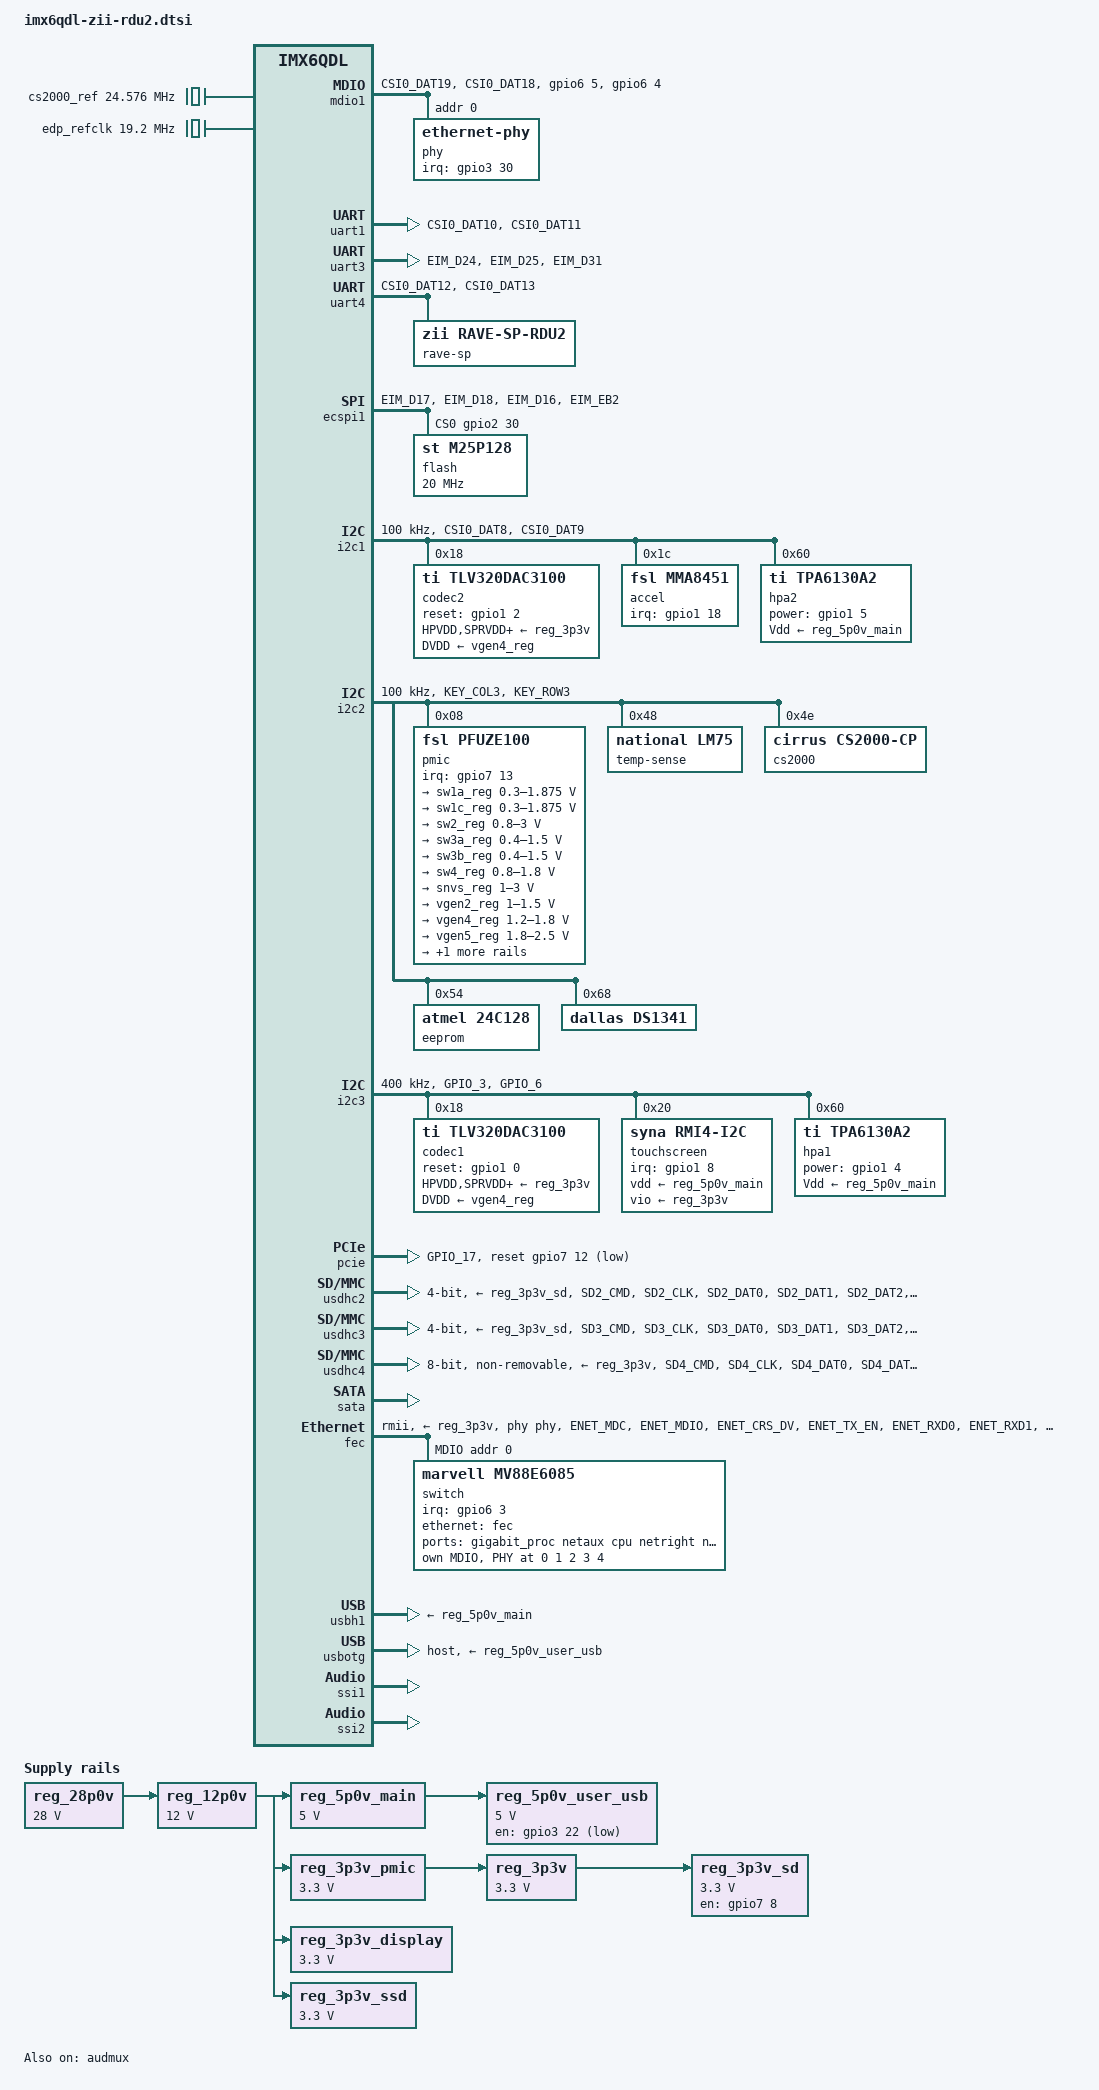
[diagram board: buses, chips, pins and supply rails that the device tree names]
/*
 * Copyright (C) 2016-2017 Zodiac Inflight Innovations
 *
 * This file is dual-licensed: you can use it either under the terms
 * of the GPL or the X11 license, at your option. Note that this dual
 * licensing only applies to this file, and not this project as a
 * whole.
 *
 *  a) This file is free software; you can redistribute it and/or
 *     modify it under the terms of the GNU General Public License
 *     version 2 as published by the Free Software Foundation.
 *
 *     This file is distributed in the hope that it will be useful,
 *     but WITHOUT ANY WARRANTY; without even the implied warranty of
 *     MERCHANTABILITY or FITNESS FOR A PARTICULAR PURPOSE.  See the
 *     GNU General Public License for more details.
 *
 * Or, alternatively,
 *
 *  b) Permission is hereby granted, free of charge, to any person
 *     obtaining a copy of this software and associated documentation
 *     files (the "Software"), to deal in the Software without
 *     restriction, including without limitation the rights to use,
 *     copy, modify, merge, publish, distribute, sublicense, and/or
 *     sell copies of the Software, and to permit persons to whom the
 *     Software is furnished to do so, subject to the following
 *     conditions:
 *
 *     The above copyright notice and this permission notice shall be
 *     included in all copies or substantial portions of the Software.
 *
 *     THE SOFTWARE IS PROVIDED , WITHOUT WARRANTY OF ANY KIND,
 *     EXPRESS OR IMPLIED, INCLUDING BUT NOT LIMITED TO THE WARRANTIES
 *     OF MERCHANTABILITY, FITNESS FOR A PARTICULAR PURPOSE AND
 *     NONINFRINGEMENT. IN NO EVENT SHALL THE AUTHORS OR COPYRIGHT
 *     HOLDERS BE LIABLE FOR ANY CLAIM, DAMAGES OR OTHER LIABILITY,
 *     WHETHER IN AN ACTION OF CONTRACT, TORT OR OTHERWISE, ARISING
 *     FROM, OUT OF OR IN CONNECTION WITH THE SOFTWARE OR THE USE OR
 *     OTHER DEALINGS IN THE SOFTWARE.
 */

#include <dt-bindings/gpio/gpio.h>
#include <dt-bindings/sound/fsl-imx-audmux.h>

/ {
	chosen {
		stdout-path = &uart1;
	};

	aliases {
		mdio-gpio0 = &mdio1;
		rtc0 = &ds1341;
	};

	mdio1: mdio {
		compatible = "virtual,mdio-gpio";
		#address-cells = <1>;
		#size-cells = <0>;
		pinctrl-names = "default";
		pinctrl-0 = <&pinctrl_mdio1>;
		gpios = <&gpio6 5 GPIO_ACTIVE_HIGH
		         &gpio6 4 GPIO_ACTIVE_HIGH>;

		phy: ethernet-phy@0 {
			pinctrl-0 = <&pinctrl_rmii_phy_irq>;
			pinctrl-names = "default";
			reg = <0>;
			interrupt-parent = <&gpio3>;
			interrupts = <30 IRQ_TYPE_LEVEL_LOW>;
		};
	};

	reg_28p0v: regulator-28p0v {
		compatible = "regulator-fixed";
		regulator-name = "28V_IN";
		regulator-min-microvolt = <28000000>;
		regulator-max-microvolt = <28000000>;
		regulator-always-on;
	};

	reg_12p0v: regulator-12p0v {
		compatible = "regulator-fixed";
		vin-supply = <&reg_28p0v>;
		regulator-name = "12V_MAIN";
		regulator-min-microvolt = <12000000>;
		regulator-max-microvolt = <12000000>;
		regulator-always-on;
	};

	reg_5p0v_main: regulator-5p0v-main {
		compatible = "regulator-fixed";
		vin-supply = <&reg_12p0v>;
		regulator-name = "5V_MAIN";
		regulator-min-microvolt = <5000000>;
		regulator-max-microvolt = <5000000>;
		regulator-always-on;
	};

	reg_5p0v_user_usb: regulator-5p0v-user-usb {
		compatible = "regulator-fixed";
		pinctrl-names = "default";
		pinctrl-0 = <&pinctrl_reg_user_usb>;
		vin-supply = <&reg_5p0v_main>;
		regulator-name = "5V_USER_USB";
		regulator-min-microvolt = <5000000>;
		regulator-max-microvolt = <5000000>;
		gpio = <&gpio3 22 GPIO_ACTIVE_LOW>;
		startup-delay-us = <1000>;
	};

	reg_3p3v_pmic: regulator-3p3v-pmic {
		compatible = "regulator-fixed";
		vin-supply = <&reg_12p0v>;
		regulator-name = "PMIC_3V3";
		regulator-min-microvolt = <3300000>;
		regulator-max-microvolt = <3300000>;
		regulator-always-on;
	};

	reg_3p3v: regulator-3p3v {
		compatible = "regulator-fixed";
		vin-supply = <&reg_3p3v_pmic>;
		regulator-name = "GEN_3V3";
		regulator-min-microvolt = <3300000>;
		regulator-max-microvolt = <3300000>;
		regulator-always-on;
	};

	reg_3p3v_sd: regulator-3p3v-sd {
		compatible = "regulator-fixed";
		pinctrl-names = "default";
		pinctrl-0 = <&pinctrl_reg_3p3v_sd>;
		vin-supply = <&reg_3p3v>;
		regulator-name = "3V3_SD";
		regulator-min-microvolt = <3300000>;
		regulator-max-microvolt = <3300000>;
		gpio = <&gpio7 8 GPIO_ACTIVE_HIGH>;
		startup-delay-us = <1000>;
		enable-active-high;
		regulator-always-on;
	};

	reg_3p3v_display: regulator-3p3v-display {
		compatible = "regulator-fixed";
		vin-supply = <&reg_12p0v>;
		regulator-name = "3V3_DISPLAY";
		regulator-min-microvolt = <3300000>;
		regulator-max-microvolt = <3300000>;
		regulator-always-on;
	};

	reg_3p3v_ssd: regulator-3p3v-ssd {
		compatible = "regulator-fixed";
		vin-supply = <&reg_12p0v>;
		regulator-name = "3V3_SSD";
		regulator-min-microvolt = <3300000>;
		regulator-max-microvolt = <3300000>;
		regulator-always-on;
	};

	sound1 {
		compatible = "simple-audio-card";
		simple-audio-card,name = "Front";
		simple-audio-card,format = "i2s";
		simple-audio-card,bitclock-master = <&sound1_codec>;
		simple-audio-card,frame-master = <&sound1_codec>;
		simple-audio-card,widgets =
			"Headphone", "Headphone Jack";
		simple-audio-card,routing =
			"Headphone Jack", "HPLEFT",
			"Headphone Jack", "HPRIGHT",
			"LEFTIN", "HPL",
			"RIGHTIN", "HPR";
		simple-audio-card,aux-devs = <&hpa1>;

		sound1_cpu: simple-audio-card,cpu {
			sound-dai = <&ssi2>;
		};

		sound1_codec: simple-audio-card,codec {
			sound-dai = <&codec1>;
			clocks = <&cs2000>;
		};
	};

	sound2 {
		compatible = "simple-audio-card";
		simple-audio-card,name = "Back";
		simple-audio-card,format = "i2s";
		simple-audio-card,bitclock-master = <&sound2_codec>;
		simple-audio-card,frame-master = <&sound2_codec>;
		simple-audio-card,widgets =
			"Headphone", "Headphone Jack";
		simple-audio-card,routing =
			"Headphone Jack", "HPLEFT",
			"Headphone Jack", "HPRIGHT",
			"LEFTIN", "HPL",
			"RIGHTIN", "HPR";
		simple-audio-card,aux-devs = <&hpa2>;

		sound2_cpu: simple-audio-card,cpu {
			sound-dai = <&ssi1>;
		};

		sound2_codec: simple-audio-card,codec {
			sound-dai = <&codec2>;
			clocks = <&cs2000>;
		};
	};

	panel {
		power-supply = <&reg_3p3v_display>;
		status = "disabled";

		port {
			panel_in: endpoint {
				remote-endpoint = <&lvds0_out>;
			};
		};
	};

	disp0: disp0 {
		#address-cells = <1>;
		#size-cells = <0>;
		compatible = "fsl,imx-parallel-display";
		pinctrl-names = "default";
		pinctrl-0 = <&pinctrl_disp0>;
		status = "disabled";

		port@0 {
			reg = <0>;

			disp0_in_0: endpoint {
				remote-endpoint = <&ipu1_di0_disp0>;
			};
		};

		port@1 {
			reg = <1>;

			disp0_out: endpoint {
				remote-endpoint = <&tc358767_in>;
			};
		};
	};

	cs2000_ref: cs2000-ref {
		compatible = "fixed-clock";
		#clock-cells = <0>;
		clock-frequency = <24576000>;
	};

	cs2000_in_dummy: cs2000-in-dummy {
		compatible = "fixed-clock";
		#clock-cells = <0>;
		clock-frequency = <0>;
	};

	edp_refclk: edp-refclk {
		compatible = "fixed-clock";
		#clock-cells = <0>;
		clock-frequency = <19200000>;
	};
};

&cpu0 {
	fsl,soc-operating-points = <
		/* ARM kHz  SOC-PU uV */
		1200000 1300000
		996000	1275000
		852000	1275000
		792000	1200000
		396000	1200000
	>;
};

&reg_arm {
	vin-supply = <&sw1a_reg>;
};

&reg_pu {
	vin-supply = <&sw1c_reg>;
};

&reg_soc {
	vin-supply = <&sw1c_reg>;
};

&ldb {
	lvds-channel@0 {
		port@4 {
			reg = <4>;

			lvds0_out: endpoint {
				remote-endpoint = <&panel_in>;
			};
		};
	};
};

&uart1 {
	pinctrl-names = "default";
	pinctrl-0 = <&pinctrl_uart1>;
	status = "okay";
};

&uart3 {
	pinctrl-names = "default";
	pinctrl-0 = <&pinctrl_uart3>;
	uart-has-rtscts;
	linux,rs485-enabled-at-boot-time;
	status = "okay";
};

&uart4 {
	pinctrl-names = "default";
	pinctrl-0 = <&pinctrl_uart4>;
	status = "okay";

	rave-sp {
		compatible = "zii,rave-sp-rdu2";
		current-speed = <1000000>;
		#address-cells = <1>;
		#size-cells = <1>;

		watchdog {
			compatible = "zii,rave-sp-watchdog";
		};

		backlight {
			compatible = "zii,rave-sp-backlight";
		};

		pwrbutton {
			compatible = "zii,rave-sp-pwrbutton";
		};

		eeprom@a3 {
			compatible = "zii,rave-sp-eeprom";
			reg = <0xa3 0x4000>;
			#address-cells = <1>;
			#size-cells = <1>;
			zii,eeprom-name = "dds-eeprom";
		};

		eeprom@a4 {
			compatible = "zii,rave-sp-eeprom";
			reg = <0xa4 0x4000>;
			#address-cells = <1>;
			#size-cells = <1>;
			zii,eeprom-name = "main-eeprom";
		};
	};
};

&ecspi1 {
	pinctrl-names = "default";
	pinctrl-0 = <&pinctrl_ecspi1>;
	cs-gpios = <&gpio2 30 GPIO_ACTIVE_HIGH>;
	status = "okay";

	flash@0 {
		compatible = "st,m25p128", "jedec,spi-nor";
		spi-max-frequency = <20000000>;
		reg = <0>;
	};
};

&i2c1 {
	pinctrl-names = "default";
	pinctrl-0 = <&pinctrl_i2c1>;
	clock-frequency = <100000>;
	status = "okay";

	codec2: codec@18 {
		compatible = "ti,tlv320dac3100";
		pinctrl-names = "default";
		pinctrl-0 = <&pinctrl_codec2>;
		reg = <0x18>;
		#sound-dai-cells = <0>;
		HPVDD-supply = <&reg_3p3v>;
		SPRVDD-supply = <&reg_3p3v>;
		SPLVDD-supply = <&reg_3p3v>;
		AVDD-supply = <&reg_3p3v>;
		IOVDD-supply = <&reg_3p3v>;
		DVDD-supply = <&vgen4_reg>;
		gpio-reset = <&gpio1 2 GPIO_ACTIVE_HIGH>;
	};

	accel@1c {
		pinctrl-names = "default";
		pinctrl-0 = <&pinctrl_accel>;
		compatible = "fsl,mma8451";
		reg = <0x1c>;
		interrupt-parent = <&gpio1>;
		interrupt-names = "int1", "int2";
		interrupts = <18 IRQ_TYPE_LEVEL_LOW>, <20 IRQ_TYPE_LEVEL_LOW>;
	};

	hpa2: amp@60 {
		compatible = "ti,tpa6130a2";
		pinctrl-names = "default";
		pinctrl-0 = <&pinctrl_tpa2>;
		reg = <0x60>;
		power-gpio = <&gpio1 5 GPIO_ACTIVE_HIGH>;
		Vdd-supply = <&reg_5p0v_main>;
	};

	edp-bridge@68 {
		compatible = "toshiba,tc358767";
		pinctrl-names = "default";
		pinctrl-0 = <&pinctrl_tc358767>;
		reg = <0x68>;
		shutdown-gpios = <&gpio1 9 GPIO_ACTIVE_HIGH>;
		clock-names = "ref";
		clocks = <&edp_refclk>;
		status = "disabled";

		ports {
			#address-cells = <1>;
			#size-cells = <0>;

			port@1 {
				reg = <1>;

				tc358767_in: endpoint {
					remote-endpoint = <&disp0_out>;
				};
			};
		};
	};
};

&i2c2 {
	pinctrl-names = "default";
	pinctrl-0 = <&pinctrl_i2c2>;
	clock-frequency = <100000>;
	status = "okay";

	pmic@8 {
		compatible = "fsl,pfuze100";
		pinctrl-names = "default";
		pinctrl-0 = <&pinctrl_pfuze100_irq>;
		reg = <0x08>;
		interrupt-parent = <&gpio7>;
		interrupts = <13 IRQ_TYPE_LEVEL_LOW>;

		regulators {
			sw1a_reg: sw1ab {
				regulator-min-microvolt = <300000>;
				regulator-max-microvolt = <1875000>;
				regulator-boot-on;
				regulator-always-on;
				regulator-ramp-delay = <6250>;
			};

			sw1c_reg: sw1c {
				regulator-min-microvolt = <300000>;
				regulator-max-microvolt = <1875000>;
				regulator-boot-on;
				regulator-always-on;
				regulator-ramp-delay = <6250>;
			};

			sw2_reg: sw2 {
				regulator-min-microvolt = <800000>;
				regulator-max-microvolt = <3000000>;
				regulator-boot-on;
				regulator-always-on;
			};

			sw3a_reg: sw3a {
				regulator-min-microvolt = <400000>;
				regulator-max-microvolt = <1500000>;
				regulator-boot-on;
				regulator-always-on;
			};

			sw3b_reg: sw3b {
				regulator-min-microvolt = <400000>;
				regulator-max-microvolt = <1500000>;
				regulator-boot-on;
				regulator-always-on;
			};

			sw4_reg: sw4 {
				regulator-min-microvolt = <800000>;
				regulator-max-microvolt = <1800000>;
				regulator-boot-on;
				regulator-always-on;
			};

			snvs_reg: vsnvs {
				regulator-min-microvolt = <1000000>;
				regulator-max-microvolt = <3000000>;
				regulator-boot-on;
				regulator-always-on;
			};

			vref_reg: vrefddr {
				regulator-boot-on;
				regulator-always-on;
			};

			vgen2_reg: vgen2 {
				regulator-min-microvolt = <1000000>;
				regulator-max-microvolt = <1500000>;
				regulator-always-on;
			};

			vgen4_reg: vgen4 {
				regulator-min-microvolt = <1200000>;
				regulator-max-microvolt = <1800000>;
				regulator-always-on;
			};

			vgen5_reg: vgen5 {
				regulator-min-microvolt = <1800000>;
				regulator-max-microvolt = <2500000>;
				regulator-always-on;
			};

			vgen6_reg: vgen6 {
				regulator-min-microvolt = <1800000>;
				regulator-max-microvolt = <2800000>;
				regulator-always-on;
			};
		};
	};

	temp-sense@48 {
		compatible = "national,lm75";
		reg = <0x48>;
	};

	cs2000: clkgen@4e {
		compatible = "cirrus,cs2000-cp";
		reg = <0x4e>;
		#clock-cells = <0>;
		clock-names = "clk_in", "ref_clk";
		clocks = <&cs2000_in_dummy>, <&cs2000_ref>;
		assigned-clocks = <&cs2000>;
		assigned-clock-rates = <24000000>;
	};

	eeprom@54 {
		compatible = "atmel,24c128";
		reg = <0x54>;
	};

	ds1341: rtc@68 {
		compatible = "dallas,ds1341";
		reg = <0x68>;
	};
};

&i2c3 {
	pinctrl-names = "default";
	pinctrl-0 = <&pinctrl_i2c3>;
	clock-frequency = <400000>;
	status = "okay";

	codec1: codec@18 {
		compatible = "ti,tlv320dac3100";
		pinctrl-names = "default";
		pinctrl-0 = <&pinctrl_codec1>;
		reg = <0x18>;
		#sound-dai-cells = <0>;
		HPVDD-supply = <&reg_3p3v>;
		SPRVDD-supply = <&reg_3p3v>;
		SPLVDD-supply = <&reg_3p3v>;
		AVDD-supply = <&reg_3p3v>;
		IOVDD-supply = <&reg_3p3v>;
		DVDD-supply = <&vgen4_reg>;
		gpio-reset = <&gpio1 0 GPIO_ACTIVE_HIGH>;
	};

	touchscreen@20 {
		compatible = "syna,rmi4-i2c";
		pinctrl-names = "default";
		pinctrl-0 = <&pinctrl_ts>;
		reg = <0x20>;
		interrupt-parent = <&gpio1>;
		interrupts = <8 IRQ_TYPE_LEVEL_LOW>;
		vdd-supply = <&reg_5p0v_main>;
		vio-supply = <&reg_3p3v>;

		#address-cells = <1>;
		#size-cells = <0>;

		rmi4-f01@1 {
			reg = <0x1>;
			syna,nosleep-mode = <2>;
		};

		rmi4-f11@11 {
			reg = <0x11>;
			touchscreen-inverted-x;
			touchscreen-swapped-x-y;
			syna,sensor-type = <1>;
		};

		rmi4-f12@12 {
			reg = <0x12>;
			touchscreen-inverted-x;
			touchscreen-swapped-x-y;
			syna,sensor-type = <1>;
		};
	};

	touchscreen@2a {
		compatible = "eeti,egalax_ts";
		pinctrl-names = "default";
		pinctrl-0 = <&pinctrl_ts>;
		reg = <0x2a>;
		interrupt-parent = <&gpio1>;
		interrupts = <8 IRQ_TYPE_LEVEL_LOW>;
		wakeup-gpios = <&gpio1 8 GPIO_ACTIVE_LOW>;
		status = "disabled";
	};

	hpa1: amp@60 {
		compatible = "ti,tpa6130a2";
		pinctrl-names = "default";
		pinctrl-0 = <&pinctrl_tpa1>;
		reg = <0x60>;
		power-gpio = <&gpio1 4 GPIO_ACTIVE_HIGH>;
		Vdd-supply = <&reg_5p0v_main>;
	};
};

&ipu1_di0_disp0 {
	remote-endpoint = <&disp0_in_0>;
};

&pcie {
	pinctrl-names = "default";
	pinctrl-0 = <&pinctrl_pcie>;
	reset-gpio = <&gpio7 12 GPIO_ACTIVE_LOW>;
	status = "okay";

	host@0 {
		reg = <0 0 0 0 0>;

		#address-cells = <3>;
		#size-cells = <2>;

		i210: i210@0 {
			reg = <0 0 0 0 0>;
		};
	};
};

&usdhc2 {
	pinctrl-names = "default";
	pinctrl-0 = <&pinctrl_usdhc2>;
	bus-width = <4>;
	cd-gpios = <&gpio2 2 GPIO_ACTIVE_LOW>;
	wp-gpios = <&gpio2 3 GPIO_ACTIVE_HIGH>;
	vmmc-supply = <&reg_3p3v_sd>;
	vqmmc-supply = <&reg_3p3v>;
	no-1-8-v;
	no-sdio;
	status = "okay";
};

&usdhc3 {
	pinctrl-names = "default";
	pinctrl-0 = <&pinctrl_usdhc3>;
	bus-width = <4>;
	cd-gpios = <&gpio2 0 GPIO_ACTIVE_LOW>;
	wp-gpios = <&gpio2 1 GPIO_ACTIVE_HIGH>;
	vmmc-supply = <&reg_3p3v_sd>;
	vqmmc-supply = <&reg_3p3v>;
	no-1-8-v;
	no-sdio;
	status = "okay";
};

&usdhc4 {
	pinctrl-names = "default";
	pinctrl-0 = <&pinctrl_usdhc4>;
	bus-width = <8>;
	vmmc-supply = <&reg_3p3v>;
	vqmmc-supply = <&reg_3p3v>;
	no-1-8-v;
	non-removable;
	no-sdio;
	no-sd;
	status = "okay";
};

&sata {
	target-supply = <&reg_3p3v_ssd>;
	status = "okay";
};

&fec {
	pinctrl-names = "default";
	pinctrl-0 = <&pinctrl_enet>;
	phy-mode = "rmii";
	phy-handle = <&phy>;
	phy-reset-gpios = <&gpio1 23 GPIO_ACTIVE_LOW>;
	phy-reset-duration = <100>;
	phy-supply = <&reg_3p3v>;
	status = "okay";

	mdio {
		#address-cells = <1>;
		#size-cells = <0>;
		status = "okay";

		switch: switch@0 {
			compatible = "marvell,mv88e6085";
			pinctrl-0 = <&pinctrl_switch_irq>;
			pinctrl-names = "default";
			reg = <0>;
			dsa,member = <0 0>;
			eeprom-length = <512>;
			interrupt-parent = <&gpio6>;
			interrupts = <3 IRQ_TYPE_LEVEL_LOW>;
			interrupt-controller;
			#interrupt-cells = <2>;

			ports {
				#address-cells = <1>;
				#size-cells = <0>;

				port@0 {
					reg = <0>;
					label = "gigabit_proc";
					phy-handle = <&switchphy0>;
				};

				port@1 {
					reg = <1>;
					label = "netaux";
					phy-handle = <&switchphy1>;
				};

				port@2 {
					reg = <2>;
					label = "cpu";
					ethernet = <&fec>;

					fixed-link {
						speed = <100>;
						full-duplex;
					};
				};

				port@3 {
					reg = <3>;
					label = "netright";
					phy-handle = <&switchphy3>;
				};

				port@4 {
					reg = <4>;
					label = "netleft";
					phy-handle = <&switchphy4>;
				};
			};

			mdio {
				#address-cells = <1>;
				#size-cells = <0>;

				switchphy0: switchphy@0 {
					reg = <0>;
					interrupt-parent = <&switch>;
					interrupts = <0 IRQ_TYPE_LEVEL_HIGH>;
				};

				switchphy1: switchphy@1 {
					reg = <1>;
					interrupt-parent = <&switch>;
					interrupts = <1 IRQ_TYPE_LEVEL_HIGH>;
				};

				switchphy2: switchphy@2 {
					reg = <2>;
					interrupt-parent = <&switch>;
					interrupts = <2 IRQ_TYPE_LEVEL_HIGH>;
				};

				switchphy3: switchphy@3 {
					reg = <3>;
					interrupt-parent = <&switch>;
					interrupts = <3 IRQ_TYPE_LEVEL_HIGH>;
				};

				switchphy4: switchphy@4 {
					reg = <4>;
					interrupt-parent = <&switch>;
					interrupts = <4 IRQ_TYPE_LEVEL_HIGH>;
				};
			};
		};
	};
};

&usbh1 {
	vbus-supply = <&reg_5p0v_main>;
	disable-over-current;
	status = "okay";
};

&usbotg {
	vbus-supply = <&reg_5p0v_user_usb>;
	disable-over-current;
	dr_mode = "host";
	status = "okay";
};

&snvs_rtc {
	status = "disabled";
};

&ssi1 {
	status = "okay";
};

&ssi2 {
	status = "okay";
};

&audmux {
	pinctrl-names = "default";
	pinctrl-0 = <&pinctrl_audmux>;
	status = "okay";

	ssi1 {
		fsl,audmux-port = <0>;
		fsl,port-config = <
			(IMX_AUDMUX_V2_PTCR_SYN |
			 IMX_AUDMUX_V2_PTCR_TFSEL(2) |
			 IMX_AUDMUX_V2_PTCR_TCSEL(2) |
			 IMX_AUDMUX_V2_PTCR_TFSDIR |
			 IMX_AUDMUX_V2_PTCR_TCLKDIR)
			IMX_AUDMUX_V2_PDCR_RXDSEL(2)
		>;
	};

	aud3 {
		fsl,audmux-port = <2>;
		fsl,port-config = <
			IMX_AUDMUX_V2_PTCR_SYN
			IMX_AUDMUX_V2_PDCR_RXDSEL(0)
		>;
	};

	ssi2 {
		fsl,audmux-port = <1>;
		fsl,port-config = <
			(IMX_AUDMUX_V2_PTCR_SYN |
			 IMX_AUDMUX_V2_PTCR_TFSEL(4) |
			 IMX_AUDMUX_V2_PTCR_TCSEL(4) |
			 IMX_AUDMUX_V2_PTCR_TFSDIR |
			 IMX_AUDMUX_V2_PTCR_TCLKDIR)
			IMX_AUDMUX_V2_PDCR_RXDSEL(4)
		>;
	};

	aud5 {
		fsl,audmux-port = <4>;
		fsl,port-config = <
			IMX_AUDMUX_V2_PTCR_SYN
			IMX_AUDMUX_V2_PDCR_RXDSEL(1)
		>;
	};
};

&wdog1 {
	status = "disabled";
};

&iomuxc {
	pinctrl_accel: accelgrp {
		fsl,pins = <
			MX6QDL_PAD_SD1_CMD__GPIO1_IO18		0x4001b000
			MX6QDL_PAD_SD1_CLK__GPIO1_IO20		0x4001b000
		>;
	};

	pinctrl_audmux: audmuxgrp {
		fsl,pins = <
			MX6QDL_PAD_KEY_COL0__AUD5_TXC		0x130b0
			MX6QDL_PAD_KEY_ROW0__AUD5_TXD		0x130b0
			MX6QDL_PAD_KEY_COL1__AUD5_TXFS		0x130b0
			MX6QDL_PAD_CSI0_DAT4__AUD3_TXC		0x130b0
			MX6QDL_PAD_CSI0_DAT5__AUD3_TXD		0x130b0
			MX6QDL_PAD_CSI0_DAT6__AUD3_TXFS		0x130b0
		>;
	};

	pinctrl_codec1: dac1grp {
		fsl,pins = <
			MX6QDL_PAD_GPIO_0__GPIO1_IO00		0x40000038
		>;
	};

	pinctrl_codec2: dac2grp {
		fsl,pins = <
			MX6QDL_PAD_GPIO_2__GPIO1_IO02		0x40000038
		>;
	};

	pinctrl_disp0: disp0grp {
		fsl,pins = <
			MX6QDL_PAD_DI0_DISP_CLK__IPU1_DI0_DISP_CLK 0x100f9
			MX6QDL_PAD_DI0_PIN15__IPU1_DI0_PIN15       0x100f9
			MX6QDL_PAD_DI0_PIN2__IPU1_DI0_PIN02        0x100f9
			MX6QDL_PAD_DI0_PIN3__IPU1_DI0_PIN03        0x100f9
			MX6QDL_PAD_DISP0_DAT0__IPU1_DISP0_DATA00   0x100f9
			MX6QDL_PAD_DISP0_DAT1__IPU1_DISP0_DATA01   0x100f9
			MX6QDL_PAD_DISP0_DAT2__IPU1_DISP0_DATA02   0x100f9
			MX6QDL_PAD_DISP0_DAT3__IPU1_DISP0_DATA03   0x100f9
			MX6QDL_PAD_DISP0_DAT4__IPU1_DISP0_DATA04   0x100f9
			MX6QDL_PAD_DISP0_DAT5__IPU1_DISP0_DATA05   0x100f9
			MX6QDL_PAD_DISP0_DAT6__IPU1_DISP0_DATA06   0x100f9
			MX6QDL_PAD_DISP0_DAT7__IPU1_DISP0_DATA07   0x100f9
			MX6QDL_PAD_DISP0_DAT8__IPU1_DISP0_DATA08   0x100f9
			MX6QDL_PAD_DISP0_DAT9__IPU1_DISP0_DATA09   0x100f9
			MX6QDL_PAD_DISP0_DAT10__IPU1_DISP0_DATA10  0x100f9
			MX6QDL_PAD_DISP0_DAT11__IPU1_DISP0_DATA11  0x100f9
			MX6QDL_PAD_DISP0_DAT12__IPU1_DISP0_DATA12  0x100f9
			MX6QDL_PAD_DISP0_DAT13__IPU1_DISP0_DATA13  0x100f9
			MX6QDL_PAD_DISP0_DAT14__IPU1_DISP0_DATA14  0x100f9
			MX6QDL_PAD_DISP0_DAT15__IPU1_DISP0_DATA15  0x100f9
			MX6QDL_PAD_DISP0_DAT16__IPU1_DISP0_DATA16  0x100f9
			MX6QDL_PAD_DISP0_DAT17__IPU1_DISP0_DATA17  0x100f9
			MX6QDL_PAD_DISP0_DAT18__IPU1_DISP0_DATA18  0x100f9
			MX6QDL_PAD_DISP0_DAT19__IPU1_DISP0_DATA19  0x100f9
			MX6QDL_PAD_DISP0_DAT20__IPU1_DISP0_DATA20  0x100f9
			MX6QDL_PAD_DISP0_DAT21__IPU1_DISP0_DATA21  0x100f9
			MX6QDL_PAD_DISP0_DAT22__IPU1_DISP0_DATA22  0x100f9
			MX6QDL_PAD_DISP0_DAT23__IPU1_DISP0_DATA23  0x100f9
		>;
	};

	pinctrl_ecspi1: ecspi1grp {
		fsl,pins = <
			MX6QDL_PAD_EIM_D17__ECSPI1_MISO		0x100b1
			MX6QDL_PAD_EIM_D18__ECSPI1_MOSI		0x100b1
			MX6QDL_PAD_EIM_D16__ECSPI1_SCLK		0x100b1
			MX6QDL_PAD_EIM_EB2__GPIO2_IO30		0x1b0b1
		>;
	};

	pinctrl_enet: enetgrp {
		fsl,pins = <
			MX6QDL_PAD_ENET_MDC__ENET_MDC		0x000b1
			MX6QDL_PAD_ENET_MDIO__ENET_MDIO		0x100b1
			MX6QDL_PAD_ENET_CRS_DV__ENET_RX_EN	0x100f5
			MX6QDL_PAD_ENET_TX_EN__ENET_TX_EN	0x100f5
			MX6QDL_PAD_ENET_RXD0__ENET_RX_DATA0	0x100c0
			MX6QDL_PAD_ENET_RXD1__ENET_RX_DATA1	0x100c0
			MX6QDL_PAD_ENET_TXD0__ENET_TX_DATA0	0x100f5
			MX6QDL_PAD_ENET_TXD1__ENET_TX_DATA1	0x100f5
			MX6QDL_PAD_GPIO_16__ENET_REF_CLK	0x40010040
			MX6QDL_PAD_ENET_RX_ER__ENET_RX_ER	0x100b0
			MX6QDL_PAD_ENET_REF_CLK__GPIO1_IO23	0x1b0b0
		>;
	};

	pinctrl_i2c1: i2c1grp {
		fsl,pins = <
			MX6QDL_PAD_CSI0_DAT8__I2C1_SDA		0x4001b8b1
			MX6QDL_PAD_CSI0_DAT9__I2C1_SCL		0x4001b8b1
		>;
	};

	pinctrl_i2c2: i2c2grp {
		fsl,pins = <
			MX6QDL_PAD_KEY_COL3__I2C2_SCL		0x4001b8b1
			MX6QDL_PAD_KEY_ROW3__I2C2_SDA		0x4001b8b1
		>;
	};

	pinctrl_i2c3: i2c3grp {
		fsl,pins = <
			MX6QDL_PAD_GPIO_3__I2C3_SCL		0x4001b8b1
			MX6QDL_PAD_GPIO_6__I2C3_SDA		0x4001b8b1
		>;
	};

	pinctrl_mdio1: bitbangmdiogrp {
		fsl,pins = <
			/* Bitbang MDIO for DEB Switch */
			MX6QDL_PAD_CSI0_DAT19__GPIO6_IO05	0x4001b030
			MX6QDL_PAD_CSI0_DAT18__GPIO6_IO04	0x40018830
		>;
	};

	pinctrl_pcie: pciegrp {
		fsl,pins = <
			MX6QDL_PAD_GPIO_17__GPIO7_IO12		0x10038
		>;
	};

	pinctrl_pfuze100_irq: pfuze100grp {
		fsl,pins = <
			MX6QDL_PAD_GPIO_18__GPIO7_IO13		0x40010000
		>;
	};

	pinctrl_reg_3p3v_sd: mmcsupply1grp {
		fsl,pins = <
			MX6QDL_PAD_SD3_RST__GPIO7_IO08		0x858
		>;
	};

	pinctrl_reg_user_usb: usbotggrp {
		fsl,pins = <
			MX6QDL_PAD_EIM_D22__GPIO3_IO22		0x40000038
		>;
	};

	pinctrl_rmii_phy_irq: phygrp {
		fsl,pins = <
			MX6QDL_PAD_EIM_D30__GPIO3_IO30		0x40010000
		>;
	};

	pinctrl_switch_irq: switchgrp {
		fsl,pins = <
			MX6QDL_PAD_CSI0_DAT17__GPIO6_IO03	0x4001b000
		>;
	};

	pinctrl_tc358767: tc358767grp {
		fsl,pins = <
			MX6QDL_PAD_GPIO_9__GPIO1_IO09		0x10
		>;
	};

	pinctrl_tpa1: tpa6130-1grp {
		fsl,pins = <
			MX6QDL_PAD_GPIO_4__GPIO1_IO04		0x40000038
		>;
	};

	pinctrl_tpa2: tpa6130-2grp {
		fsl,pins = <
			MX6QDL_PAD_GPIO_5__GPIO1_IO05		0x40000038
		>;
	};

	pinctrl_ts: tsgrp {
		fsl,pins = <
			MX6QDL_PAD_GPIO_8__GPIO1_IO08		0x1b0b0
			MX6QDL_PAD_GPIO_7__GPIO1_IO07		0x1b0b0
		>;
	};

	pinctrl_uart1: uart1grp {
		fsl,pins = <
			MX6QDL_PAD_CSI0_DAT10__UART1_TX_DATA	0x1b0b1
			MX6QDL_PAD_CSI0_DAT11__UART1_RX_DATA	0x1b0b1
		>;
	};

	pinctrl_uart3: uart3grp {
		fsl,pins = <
			MX6QDL_PAD_EIM_D24__UART3_TX_DATA	0x1b0b1
			MX6QDL_PAD_EIM_D25__UART3_RX_DATA	0x1b0b1
			MX6QDL_PAD_EIM_D31__UART3_RTS_B		0x1b0b1
		>;
	};

	pinctrl_uart4: uart4grp {
		fsl,pins = <
			MX6QDL_PAD_CSI0_DAT12__UART4_TX_DATA	0x1b0b1
			MX6QDL_PAD_CSI0_DAT13__UART4_RX_DATA	0x1b0b1
		>;
	};

	pinctrl_usdhc2: usdhc2grp {
		fsl,pins = <
			MX6QDL_PAD_SD2_CMD__SD2_CMD		0x10059
			MX6QDL_PAD_SD2_CLK__SD2_CLK		0x10069
			MX6QDL_PAD_SD2_DAT0__SD2_DATA0		0x17059
			MX6QDL_PAD_SD2_DAT1__SD2_DATA1		0x17059
			MX6QDL_PAD_SD2_DAT2__SD2_DATA2		0x17059
			MX6QDL_PAD_SD2_DAT3__SD2_DATA3		0x17059
			MX6QDL_PAD_NANDF_D3__GPIO2_IO03		0x40010040
			MX6QDL_PAD_NANDF_D2__GPIO2_IO02		0x40010040
		>;
	};

	pinctrl_usdhc3: usdhc3grp {
		fsl,pins = <
			MX6QDL_PAD_SD3_CMD__SD3_CMD		0x10059
			MX6QDL_PAD_SD3_CLK__SD3_CLK		0x10069
			MX6QDL_PAD_SD3_DAT0__SD3_DATA0		0x17059
			MX6QDL_PAD_SD3_DAT1__SD3_DATA1		0x17059
			MX6QDL_PAD_SD3_DAT2__SD3_DATA2		0x17059
			MX6QDL_PAD_SD3_DAT3__SD3_DATA3		0x17059
			MX6QDL_PAD_NANDF_D1__GPIO2_IO01		0x40010040
			MX6QDL_PAD_NANDF_D0__GPIO2_IO00		0x40010040

		>;
	};

	pinctrl_usdhc4: usdhc4grp {
		fsl,pins = <
			MX6QDL_PAD_SD4_CMD__SD4_CMD		0x17059
			MX6QDL_PAD_SD4_CLK__SD4_CLK		0x10059
			MX6QDL_PAD_SD4_DAT0__SD4_DATA0		0x17059
			MX6QDL_PAD_SD4_DAT1__SD4_DATA1		0x17059
			MX6QDL_PAD_SD4_DAT2__SD4_DATA2		0x17059
			MX6QDL_PAD_SD4_DAT3__SD4_DATA3		0x17059
			MX6QDL_PAD_SD4_DAT4__SD4_DATA4		0x17059
			MX6QDL_PAD_SD4_DAT5__SD4_DATA5		0x17059
			MX6QDL_PAD_SD4_DAT6__SD4_DATA6		0x17059
			MX6QDL_PAD_SD4_DAT7__SD4_DATA7		0x17059
			MX6QDL_PAD_NANDF_ALE__SD4_RESET		0x1b0b1
		>;
	};
};
